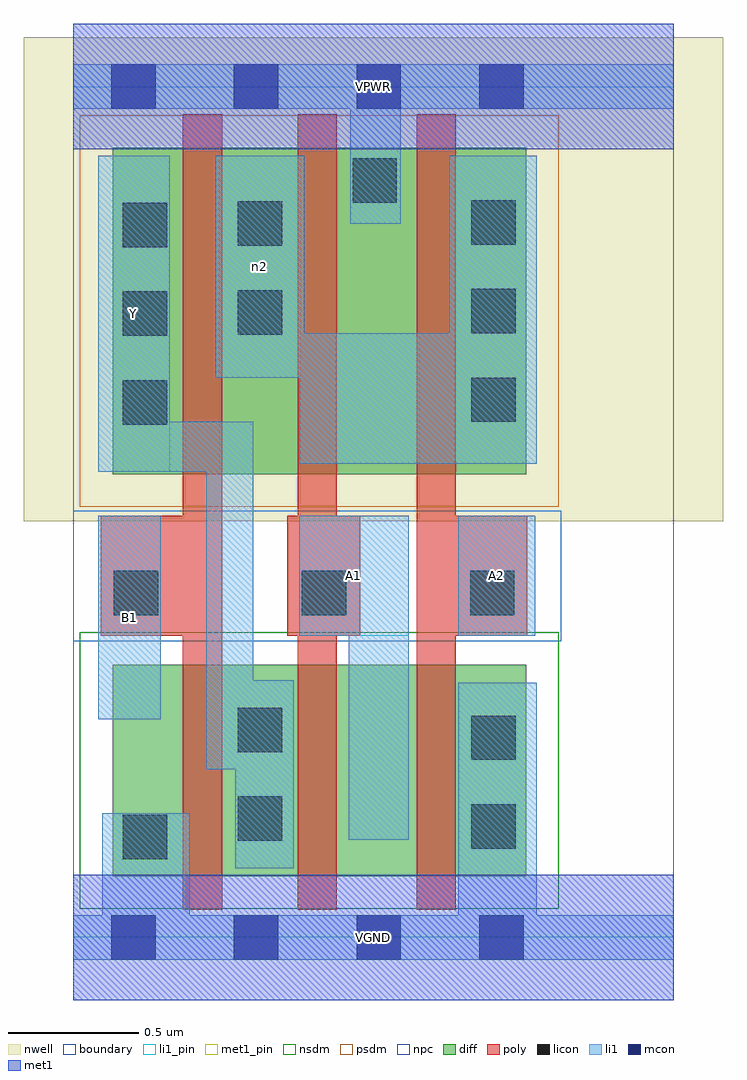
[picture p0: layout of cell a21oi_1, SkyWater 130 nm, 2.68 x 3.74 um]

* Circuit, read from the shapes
.subckt a21oi_1 A1 A2 B1 VGND VPWR Y n2
XM1 Y B1 VGND VSUBS sky130_fd_pr__nfet_01v8 w=0.81 l=0.15
XM2 n1 A1 Y VSUBS sky130_fd_pr__nfet_01v8 w=0.81 l=0.15
XM3 VGND A2 n1 VSUBS sky130_fd_pr__nfet_01v8 w=0.81 l=0.15
XM4 n2 B1 Y n3 sky130_fd_pr__pfet_01v8 w=1.25 l=0.15
XM5 VPWR A1 n2 n3 sky130_fd_pr__pfet_01v8 w=1.25 l=0.15
XM6 n2 A2 VPWR n3 sky130_fd_pr__pfet_01v8 w=1.25 l=0.15
.ends

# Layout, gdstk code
import gdstk
lib = gdstk.Library(unit=1e-6, precision=1e-09)
def R(c, l, rs):  # rectangles x0, y0, x1, y1
    for r in rs: c.add(gdstk.rectangle(r[:2], r[2:], *l))
def A(c, l, x, y, w, h, nx, ny, dx, dy):  # array of equal rectangles
    R(c, l, [(x+i*dx, y+j*dy, x+i*dx+w, y+j*dy+h) for i in range(nx) for j in range(ny)])
nwell = (64, 20)
diff = (65, 20)
poly = (66, 20)
licon = (66, 44)
li1_pin = (67, 16)
li1 = (67, 20)
mcon = (67, 44)
met1_pin = (68, 16)
met1 = (68, 20)
nsdm = (93, 44)
psdm = (94, 20)
npc = (95, 20)
boundary = (235, 4)

a21oi_1 = lib.new_cell('a21oi_1')
R(a21oi_1, nwell, [(-0.19,1.595,2.49,3.45), (0,1.595,2.3,3.45)])
R(a21oi_1, diff, [(0.15,0.235,1.735,1.045), (0.15,1.775,1.735,3.025)])
R(a21oi_1, poly, [(0.42,0.105,0.57,3.155), (0.86,0.105,1.01,3.155), (1.315,0.105,1.465,3.155), (0.105,1.155,0.57,1.615), (0.82,1.155,1.1,1.615), (1.315,1.155,1.74,1.615)])
A(a21oi_1, licon, 0.19, 1.965, 0.17, 0.17, 1, 3, 0, 0.34)
A(a21oi_1, licon, 1.525, 1.975, 0.17, 0.17, 1, 3, 0, 0.34)
R(a21oi_1, licon, [(0.19,0.3,0.36,0.47), (1.525,0.34,1.695,0.51), (0.63,0.37,0.8,0.54), (1.525,0.68,1.695,0.85), (0.63,0.71,0.8,0.88), (0.155,1.235,0.325,1.405), (0.875,1.235,1.045,1.405), (1.52,1.235,1.69,1.405), (0.63,2.31,0.8,2.48), (0.63,2.65,0.8,2.82), (1.07,2.815,1.24,2.985)])
R(a21oi_1, li1_pin, [(0.095,0.835,0.335,1.615), (0.865,1.155,1.285,1.615), (1.475,1.155,1.77,1.615), (0.095,1.785,0.37,2.995)])
R(a21oi_1, li1, [(0,-0.085,2.3,0.085), (0.11,-0.085,0.445,0.475), (1.475,-0.085,1.775,0.975), (0.62,0.265,0.845,0.985), (1.055,0.375,1.285,1.615), (0.51,0.645,0.69,1.975), (0.095,0.835,0.335,1.615), (0.865,1.155,1.285,1.615), (1.475,1.155,1.77,1.615), (0.095,1.785,0.37,2.995), (0.095,1.785,0.69,1.975), (0.865,1.815,1.775,2.315), (1.44,1.815,1.775,2.995), (0.545,2.145,0.885,2.995), (1.06,2.735,1.255,3.345), (0,3.175,2.3,3.345)])
A(a21oi_1, mcon, 0.145, -0.085, 0.17, 0.17, 4, 2, 0.47, 3.26)
R(a21oi_1, met1_pin, [(0,-0.24,2.3,0.24), (0,3.02,2.3,3.5)])
R(a21oi_1, met1, [(0,-0.24,2.3,0.24), (0,3.02,2.3,3.5)])
R(a21oi_1, nsdm, [(0.025,0.11,1.86,1.17)])
R(a21oi_1, psdm, [(0.025,1.65,1.86,3.15)])
R(a21oi_1, npc, [(0,1.135,1.87,1.635)])
R(a21oi_1, boundary, [(0,0,2.3,3.26)])
a21oi_1.add(gdstk.Label('A1', (1.075,1.385), layer=67, texttype=5))
a21oi_1.add(gdstk.Label('A2', (1.622,1.385), layer=67, texttype=5))
a21oi_1.add(gdstk.Label('B1', (0.215,1.225), layer=67, texttype=5))
a21oi_1.add(gdstk.Label('Y', (0.232,2.39), layer=67, texttype=5))
a21oi_1.add(gdstk.Label('n2', (0.715,2.57), layer=67, texttype=5))
a21oi_1.add(gdstk.Label('VPWR', (1.15,3.26), layer=68, texttype=5))
a21oi_1.add(gdstk.Label('VGND', (1.15,0), layer=68, texttype=5))
a21oi_1.add(gdstk.Label('A1', (1.075,1.385), layer=67, texttype=16))
a21oi_1.add(gdstk.Label('A2', (1.622,1.385), layer=67, texttype=16))
a21oi_1.add(gdstk.Label('B1', (0.215,1.225), layer=67, texttype=16))
a21oi_1.add(gdstk.Label('Y', (0.232,2.39), layer=67, texttype=16))
a21oi_1.add(gdstk.Label('VPWR', (1.15,3.26), layer=68, texttype=16))
a21oi_1.add(gdstk.Label('VGND', (1.15,0), layer=68, texttype=16))

lib.write_gds('a21oi_1.gds')
